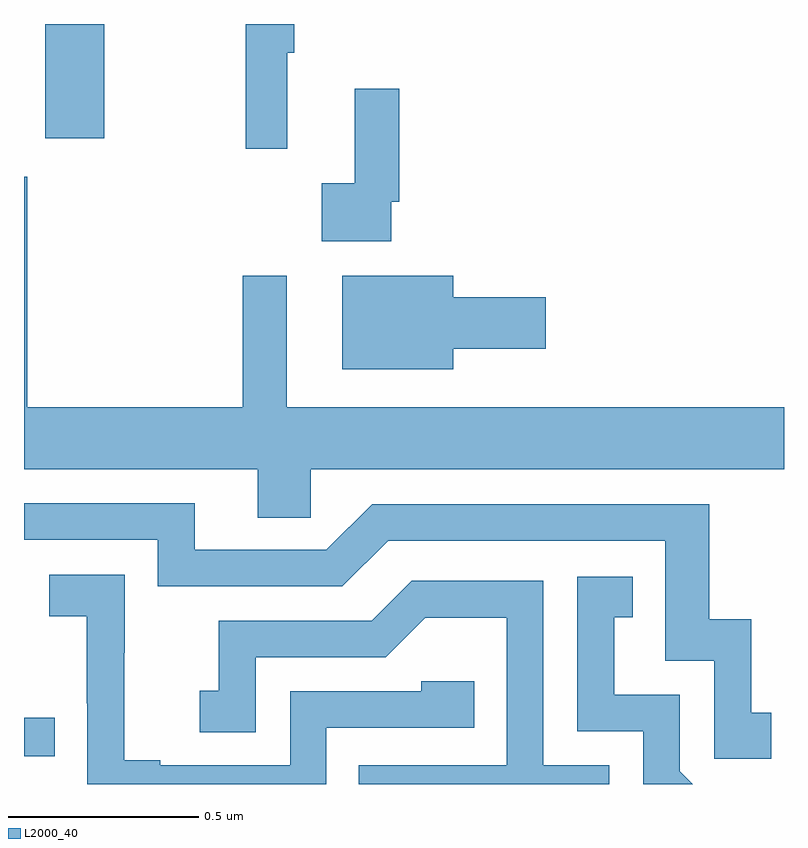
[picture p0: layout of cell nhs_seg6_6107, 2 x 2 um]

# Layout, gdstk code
import gdstk
lib = gdstk.Library(unit=1e-6, precision=1e-09)
def R(c, l, rs):  # rectangles x0, y0, x1, y1
    for r in rs: c.add(gdstk.rectangle(r[:2], r[2:], *l))
def P(c, l, *ps):  # polygons
    for p in ps: c.add(gdstk.Polygon(p, *l))
L2000_40 = (2000, 40)

nhs_seg6_6107 = lib.new_cell('nhs_seg6_6107')
R(nhs_seg6_6107, L2000_40, [(191,954.573,191.081,954.674), (191.056,956.199,191.211,956.5)])
P(nhs_seg6_6107, L2000_40, [(191.693,956.424),(191.711,956.424),(191.711,956.5),(191.583,956.5),(191.583,956.172),(191.693,956.172)],
  [(191.967,956.032),(191.987,956.032),(191.987,956.329),(191.87,956.329),(191.87,956.081),(191.784,956.081),(191.784,955.928),(191.967,955.928)],
  [(191.754,955.328),(193,955.328),(193,955.492),(191.692,955.492),(191.692,955.837),(191.575,955.837),(191.575,955.492),(191.008,955.492),(191.008,956.098),(191,956.098),(191,955.328),(191.615,955.328),(191.615,955.201),(191.754,955.201)],
  [(192.13,955.646),(192.373,955.646),(192.373,955.781),(192.13,955.781),(192.13,955.837),(191.837,955.837),(191.837,955.592),(192.13,955.592)],
  [(192.967,954.687),(192.914,954.687),(192.914,954.934),(192.803,954.934),(192.803,955.236),(191.916,955.236),(191.796,955.116),(191.449,955.116),(191.449,955.239),(191,955.239),(191,955.143),(191.352,955.143),(191.352,955.02),(191.838,955.02),(191.958,955.14),(192.687,955.14),(192.687,954.825),(192.816,954.825),(192.816,954.567),(192.967,954.567)],
  [(191.796,954.648),(192.185,954.648),(192.185,954.771),(192.045,954.771),(192.045,954.744),(191.7,954.744),(191.7,954.549),(191.359,954.549),(191.359,954.562),(191.264,954.562),(191.264,954.845),(191.265,954.845),(191.265,955.051),(191.067,955.051),(191.067,954.941),(191.165,954.941),(191.165,954.713),(191.166,954.713),(191.166,954.5),(191.796,954.5)],
  [(192.726,954.534),(192.726,954.735),(192.553,954.735),(192.553,954.939),(192.602,954.939),(192.602,955.045),(192.456,955.045),(192.456,954.639),(192.63,954.639),(192.63,954.5),(192.76,954.5)],
  [(192.54,954.549),(192.366,954.549),(192.366,955.035),(192.02,955.035),(191.915,954.93),(191.512,954.93),(191.512,954.745),(191.463,954.745),(191.463,954.636),(191.61,954.636),(191.61,954.834),(191.952,954.834),(192.056,954.938),(192.27,954.938),(192.27,954.549),(191.881,954.549),(191.881,954.5),(192.54,954.5)])

lib.write_gds('nhs_seg6_6107.gds')
